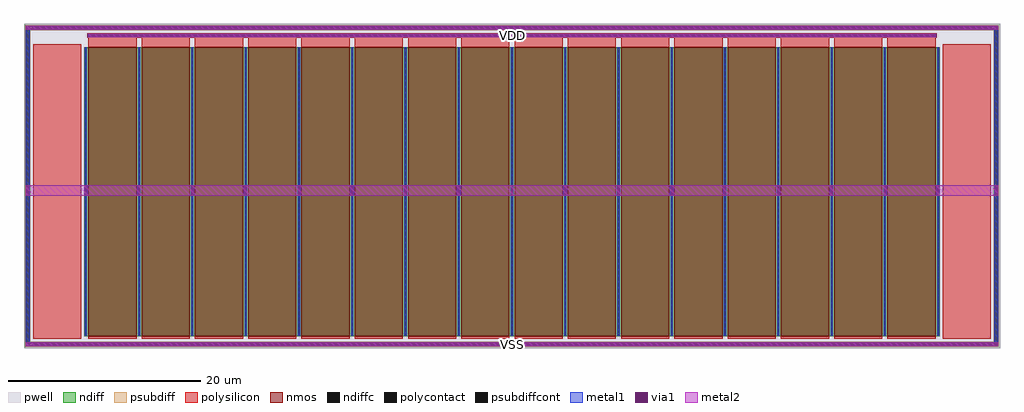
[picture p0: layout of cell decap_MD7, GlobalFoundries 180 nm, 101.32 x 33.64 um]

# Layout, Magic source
magic
tech gf180mcuD
magscale 1 10
<< pwell >>
rect -1248 -188 19016 6539
<< ndiff >>
rect 0 60 17768 6060
<< psubdiff >>
rect -1224 -164 18992 -60
rect -1224 6411 18992 6515
rect -1224 -60 -1120 6411
rect 18888 -60 18992 6411
<< nmos >>
rect 89 60 1089 6060
rect 1195 60 2195 6060
rect 2301 60 3301 6060
rect 3407 60 4407 6060
rect 4513 60 5513 6060
rect 5619 60 6619 6060
rect 6725 60 7725 6060
rect 7831 60 8831 6060
rect 8937 60 9937 6060
rect 10043 60 11043 6060
rect 11149 60 12149 6060
rect 12255 60 13255 6060
rect 13361 60 14361 6060
rect 14467 60 15467 6060
rect 15573 60 16573 6060
rect 16679 60 17679 6060
<< polysilicon >>
rect 89 6060 1089 6249
rect 1195 6060 2195 6249
rect 2301 6060 3301 6249
rect 3407 6060 4407 6249
rect 4513 6060 5513 6249
rect 5619 6060 6619 6249
rect 6725 6060 7725 6249
rect 7831 6060 8831 6249
rect 8937 6060 9937 6249
rect 10043 6060 11043 6249
rect 11149 6060 12149 6249
rect 12255 6060 13255 6249
rect 13361 6060 14361 6249
rect 14467 6060 15467 6249
rect 15573 6060 16573 6249
rect 16679 6060 17679 6249
rect 69 6249 17699 6351
rect 89 0 1089 60
rect 1195 0 2195 60
rect 2301 0 3301 60
rect 3407 0 4407 60
rect 4513 0 5513 60
rect 5619 0 6619 60
rect 6725 0 7725 60
rect 7831 0 8831 60
rect 8937 0 9937 60
rect 10043 0 11043 60
rect 11149 0 12149 60
rect 12255 0 13255 60
rect 13361 0 14361 60
rect 14467 0 15467 60
rect 15573 0 16573 60
rect 16679 0 17679 60
rect -1060 0 -60 6120
rect 17828 0 18828 6120
<< ndiffc >>
rect 13 73 59 6047
rect 1119 73 1165 6047
rect 2225 73 2271 6047
rect 3331 73 3377 6047
rect 4437 73 4483 6047
rect 5543 73 5589 6047
rect 6649 73 6695 6047
rect 7755 73 7801 6047
rect 8861 73 8907 6047
rect 9967 73 10013 6047
rect 11073 73 11119 6047
rect 12179 73 12225 6047
rect 13285 73 13331 6047
rect 14391 73 14437 6047
rect 15497 73 15543 6047
rect 16603 73 16649 6047
rect 17709 73 17755 6047
<< psubdiffcont >>
rect -1211 -140 -1133 6491
rect 18901 -140 18979 6491
rect -1073 6424 18841 6502
rect -1073 -151 18841 -73
<< polycontact >>
rect 82 6262 17686 6338
<< metal1 >>
rect 13 62 59 6058
rect 1119 62 1165 6058
rect 2225 62 2271 6058
rect 3331 62 3377 6058
rect 4437 62 4483 6058
rect 5543 62 5589 6058
rect 6649 62 6695 6058
rect 7755 62 7801 6058
rect 8861 62 8907 6058
rect 9967 62 10013 6058
rect 11073 62 11119 6058
rect 12179 62 12225 6058
rect 13285 62 13331 6058
rect 14391 62 14437 6058
rect 15497 62 15543 6058
rect 16603 62 16649 6058
rect 17709 62 17755 6058
rect -2 2968 74 3192
rect 1104 2968 1180 3192
rect 2210 2968 2286 3192
rect 3316 2968 3392 3192
rect 4422 2968 4498 3192
rect 5528 2968 5604 3192
rect 6634 2968 6710 3192
rect 7740 2968 7816 3192
rect 8846 2968 8922 3192
rect 9952 2968 10028 3192
rect 11058 2968 11134 3192
rect 12164 2968 12240 3192
rect 13270 2968 13346 3192
rect 14376 2968 14452 3192
rect 15482 2968 15558 3192
rect 16588 2968 16664 3192
rect 17694 2968 17770 3192
rect 71 6262 17697 6338
rect -1211 -151 18979 -73
rect -1211 6424 18979 6502
rect -1211 -151 -1133 6502
rect 18901 -151 18979 6502
rect -1211 -151 18979 -73
rect -1211 6424 18979 6502
<< metal2 >>
rect 82 6262 17686 6338
rect -1211 -151 18979 -73
rect -1211 6424 18979 6502
rect -1211 2968 18979 3192
<< via1 >>
rect 10 2980 62 3180
rect 1116 2980 1168 3180
rect 2222 2980 2274 3180
rect 3328 2980 3380 3180
rect 4434 2980 4486 3180
rect 5540 2980 5592 3180
rect 6646 2980 6698 3180
rect 7752 2980 7804 3180
rect 8858 2980 8910 3180
rect 9964 2980 10016 3180
rect 11070 2980 11122 3180
rect 12176 2980 12228 3180
rect 13282 2980 13334 3180
rect 14388 2980 14440 3180
rect 15494 2980 15546 3180
rect 16600 2980 16652 3180
rect 17706 2980 17758 3180
rect 94 6274 17674 6326
rect -1199 -139 18967 -85
rect -1199 6436 18967 6490
rect -1198 2980 -1146 3180
rect 18914 2980 18966 3180
<< labels >>
flabel metal2 s 82 6262 17686 6338 0 FreeSans 80 0 0 0 VDD
port 1 nsew signal bidirectional
flabel metal2 s -1211 -151 18979 -73 0 FreeSans 80 0 0 0 VSS
port 2 nsew signal bidirectional
<< end >>
